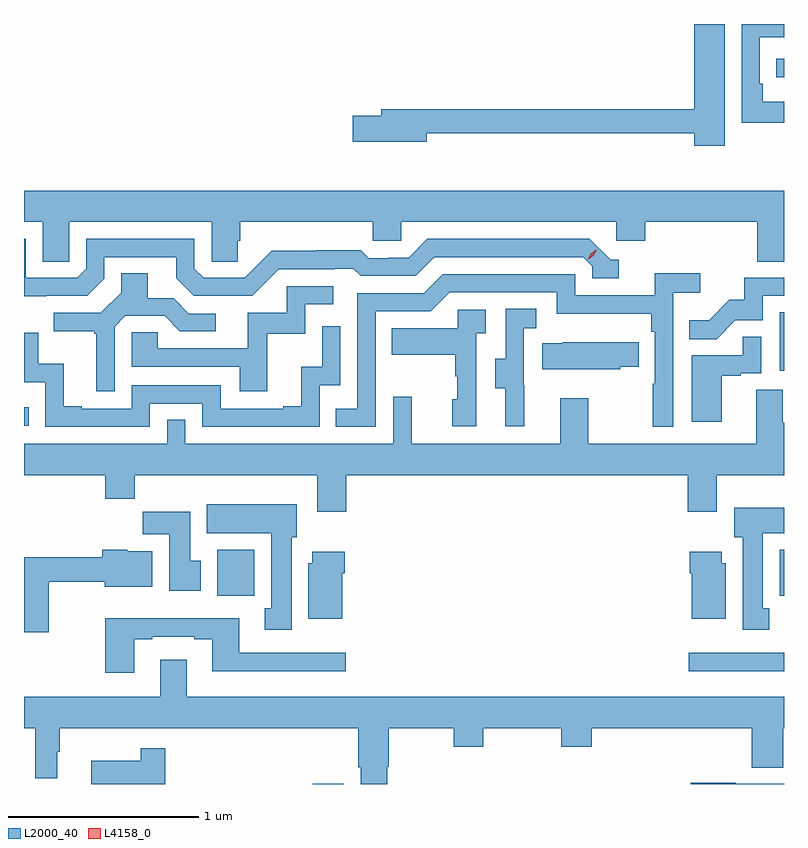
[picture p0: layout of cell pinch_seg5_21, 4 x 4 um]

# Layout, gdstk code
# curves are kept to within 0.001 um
import gdstk
lib = gdstk.Library(unit=1e-6, precision=1e-09)
def R(c, l, rs):  # rectangles x0, y0, x1, y1
    for r in rs: c.add(gdstk.rectangle(r[:2], r[2:], *l))
def P(c, l, *ps):  # polygons
    for p in ps: c.add(gdstk.Polygon(p, *l))
L2000_40 = (2000, 40)
L4158_0 = (4158, 0)

pinch_seg5_21 = lib.new_cell('pinch_seg5_21')
R(pinch_seg5_21, L2000_40, [(1115.952,911.078,1116.115,911.079), (1117.929,911.672,1118.431,911.769), (1115.447,912.068,1115.644,912.31), (1118.408,912.068,1118.431,912.31), (1114.431,912.963,1114.457,913.06), (1118.408,913.254,1118.431,913.561), (1118.391,914.799,1118.431,914.895)])
P(pinch_seg5_21, L2000_40, [(1118.431,914.668),(1118.318,914.668),(1118.318,914.764),(1118.304,914.764),(1118.304,915.009),(1118.431,915.009),(1118.431,915.078),(1118.208,915.078),(1118.208,914.559),(1118.431,914.559)],
  [(1118.119,915.078),(1117.958,915.078),(1117.958,914.63),(1116.311,914.63),(1116.311,914.594),(1116.162,914.594),(1116.162,914.459),(1116.55,914.459),(1116.55,914.502),(1117.958,914.502),(1117.958,914.436),(1118.119,914.436)],
  [(1114.668,914.036),(1115.418,914.036),(1115.418,913.828),(1115.555,913.828),(1115.555,913.938),(1115.57,913.938),(1115.57,914.036),(1116.267,914.036),(1116.267,913.938),(1116.417,913.938),(1116.417,914.036),(1117.548,914.036),(1117.548,913.938),(1117.7,913.938),(1117.7,914.036),(1118.291,914.036),(1118.291,913.828),(1118.431,913.828),(1118.431,914.2),(1114.431,914.2),(1114.431,914.036),(1114.529,914.036),(1114.529,913.828),(1114.668,913.828)],
  [(1114.548,913.647),(1114.764,913.647),(1114.854,913.737),(1114.854,913.851),(1115.231,913.851),(1115.231,913.741),(1115.325,913.647),(1115.631,913.647),(1115.772,913.788),(1116.065,913.788),(1116.065,913.791),(1116.164,913.791),(1116.203,913.752),(1116.492,913.752),(1116.591,913.851),(1117.374,913.851),(1117.422,913.803),(1117.422,913.74),(1117.561,913.74),(1117.561,913.836),(1117.518,913.836),(1117.407,913.947),(1116.554,913.947),(1116.455,913.848),(1116.348,913.848),(1116.348,913.845),(1116.245,913.845),(1116.203,913.888),(1115.97,913.888),(1115.97,913.885),(1115.734,913.885),(1115.592,913.743),(1115.376,913.743),(1115.328,913.791),(1115.328,913.947),(1114.758,913.947),(1114.758,913.791),(1114.71,913.743),(1114.44,913.743),(1114.44,913.947),(1114.431,913.947),(1114.431,913.646)],
  [(1116.282,913.566),(1116.573,913.566),(1116.672,913.665),(1117.236,913.665),(1117.236,913.553),(1117.732,913.553),(1117.732,913.457),(1117.752,913.457),(1117.752,913.184),(1117.74,913.184),(1117.74,912.957),(1117.848,912.957),(1117.848,913.664),(1117.99,913.664),(1117.99,913.766),(1117.751,913.766),(1117.751,913.65),(1117.332,913.65),(1117.332,913.761),(1116.635,913.761),(1116.536,913.662),(1116.186,913.662),(1116.186,913.053),(1116.073,913.053),(1116.073,912.957),(1116.282,912.957)],
  [(1114.908,913.485),(1114.965,913.542),(1115.171,913.542),(1115.252,913.461),(1115.44,913.461),(1115.44,913.554),(1115.298,913.554),(1115.218,913.634),(1115.083,913.634),(1115.083,913.766),(1114.943,913.766),(1114.943,913.664),(1114.836,913.557),(1114.587,913.557),(1114.587,913.46),(1114.8,913.46),(1114.8,913.449),(1114.811,913.449),(1114.811,913.146),(1114.908,913.146)],
  [(1118.175,913.518),(1118.319,913.518),(1118.319,913.647),(1118.431,913.647),(1118.431,913.743),(1118.221,913.743),(1118.221,913.626),(1118.144,913.626),(1118.037,913.519),(1117.933,913.519),(1117.933,913.42),(1118.077,913.42)],
  [(1115.711,913.449),(1115.91,913.449),(1115.91,913.602),(1116.058,913.602),(1116.058,913.698),(1115.814,913.698),(1115.814,913.557),(1115.609,913.557),(1115.609,913.371),(1115.135,913.371),(1115.135,913.455),(1114.998,913.455),(1114.998,913.275),(1115.567,913.275),(1115.567,913.146),(1115.711,913.146)],
  [(1117.064,913.173),(1117.062,913.173),(1117.062,913.477),(1117.126,913.477),(1117.126,913.58),(1116.966,913.58),(1116.966,913.317),(1116.911,913.317),(1116.911,913.162),(1116.965,913.162),(1116.965,912.96),(1117.064,912.96)],
  [(1116.81,913.451),(1116.862,913.451),(1116.862,913.575),(1116.714,913.575),(1116.714,913.477),(1116.367,913.477),(1116.367,913.337),(1116.702,913.337),(1116.702,913.223),(1116.712,913.223),(1116.712,913.104),(1116.686,913.104),(1116.686,912.96),(1116.81,912.96)],
  [(1115.094,913.08),(1115.37,913.08),(1115.37,912.957),(1115.988,912.957),(1115.988,913.176),(1116.096,913.176),(1116.096,913.486),(1116,913.486),(1116,913.274),(1115.891,913.274),(1115.891,913.066),(1115.795,913.066),(1115.795,913.053),(1115.466,913.053),(1115.466,913.176),(1114.998,913.176),(1114.998,913.053),(1114.735,913.053),(1114.735,913.066),(1114.639,913.066),(1114.639,913.291),(1114.506,913.291),(1114.506,913.452),(1114.431,913.452),(1114.431,913.193),(1114.542,913.193),(1114.542,912.957),(1115.094,912.957)],
  [(1118.104,913.227),(1118.204,913.227),(1118.204,913.239),(1118.31,913.239),(1118.31,913.433),(1118.215,913.433),(1118.215,913.335),(1117.946,913.335),(1117.946,912.984),(1118.104,912.984)],
  [(1117.569,913.273),(1117.667,913.273),(1117.667,913.402),(1117.267,913.402),(1117.267,913.399),(1117.159,913.399),(1117.159,913.262),(1117.569,913.262)],
  [(1116.128,912.704),(1117.925,912.704),(1117.925,912.51),(1118.077,912.51),(1118.077,912.704),(1118.431,912.704),(1118.431,912.98),(1118.425,912.98),(1118.425,913.154),(1118.285,913.154),(1118.285,912.868),(1117.401,912.868),(1117.401,913.108),(1117.253,913.108),(1117.253,912.868),(1116.473,912.868),(1116.473,913.117),(1116.375,913.117),(1116.375,912.868),(1115.28,912.868),(1115.28,912.995),(1115.184,912.995),(1115.184,912.868),(1114.431,912.868),(1114.431,912.704),(1114.859,912.704),(1114.859,912.58),(1115.015,912.58),(1115.015,912.704),(1115.975,912.704),(1115.975,912.51),(1116.128,912.51)],
  [(1115.839,912.378),(1115.866,912.378),(1115.866,912.55),(1115.393,912.55),(1115.393,912.398),(1115.732,912.398),(1115.732,912.002),(1115.699,912.002),(1115.699,911.889),(1115.839,911.889)],
  [(1118.353,912.002),(1118.32,912.002),(1118.32,912.398),(1118.431,912.398),(1118.431,912.532),(1118.168,912.532),(1118.168,912.378),(1118.213,912.378),(1118.213,911.889),(1118.353,911.889)],
  [(1115.362,912.252),(1115.305,912.252),(1115.305,912.511),(1115.056,912.511),(1115.056,912.392),(1115.195,912.392),(1115.195,912.096),(1115.362,912.096)],
  [(1114.56,912.142),(1114.856,912.142),(1114.856,912.116),(1115.107,912.116),(1115.107,912.304),(1114.974,912.304),(1114.974,912.31),(1114.844,912.31),(1114.844,912.271),(1114.431,912.271),(1114.431,911.877),(1114.56,911.877)],
  [(1116.106,912.188),(1116.119,912.188),(1116.119,912.301),(1115.948,912.301),(1115.948,912.24),(1115.927,912.24),(1115.927,911.948),(1116.106,911.948)],
  [(1118.125,912.24),(1118.104,912.24),(1118.104,912.301),(1117.934,912.301),(1117.934,912.188),(1117.946,912.188),(1117.946,911.948),(1118.125,911.948)],
  [(1115.011,911.841),(1115.107,911.841),(1115.107,911.853),(1115.327,911.853),(1115.327,911.841),(1115.423,911.841),(1115.423,911.672),(1116.124,911.672),(1116.124,911.769),(1115.563,911.769),(1115.563,911.95),(1114.859,911.95),(1114.859,911.664),(1115.011,911.664)],
  [(1116.343,911.168),(1116.351,911.168),(1116.351,911.372),(1116.694,911.372),(1116.694,911.273),(1116.849,911.273),(1116.849,911.372),(1117.258,911.372),(1117.258,911.273),(1117.418,911.273),(1117.418,911.372),(1118.261,911.372),(1118.261,911.164),(1118.426,911.164),(1118.426,911.372),(1118.431,911.372),(1118.431,911.536),(1115.287,911.536),(1115.287,911.731),(1115.147,911.731),(1115.147,911.536),(1114.431,911.536),(1114.431,911.372),(1114.489,911.372),(1114.489,911.109),(1114.606,911.109),(1114.606,911.249),(1114.618,911.249),(1114.618,911.372),(1116.191,911.372),(1116.191,911.167),(1116.203,911.167),(1116.203,911.078),(1116.343,911.078)],
  [(1115.174,911.266),(1115.046,911.266),(1115.046,911.2),(1114.784,911.2),(1114.784,911.078),(1115.174,911.078)],
  [(1118.431,911.079),(1118.177,911.079),(1118.177,911.084),(1117.939,911.084),(1117.939,911.078),(1118.431,911.078)])
P(pinch_seg5_21, L4158_0, [(1117.397,913.837),(1117.397,913.838),(1117.414,913.87),(1117.444,913.89),(1117.445,913.89),(1117.445,913.889),(1117.428,913.857),(1117.398,913.837)])

lib.write_gds('pinch_seg5_21.gds')
